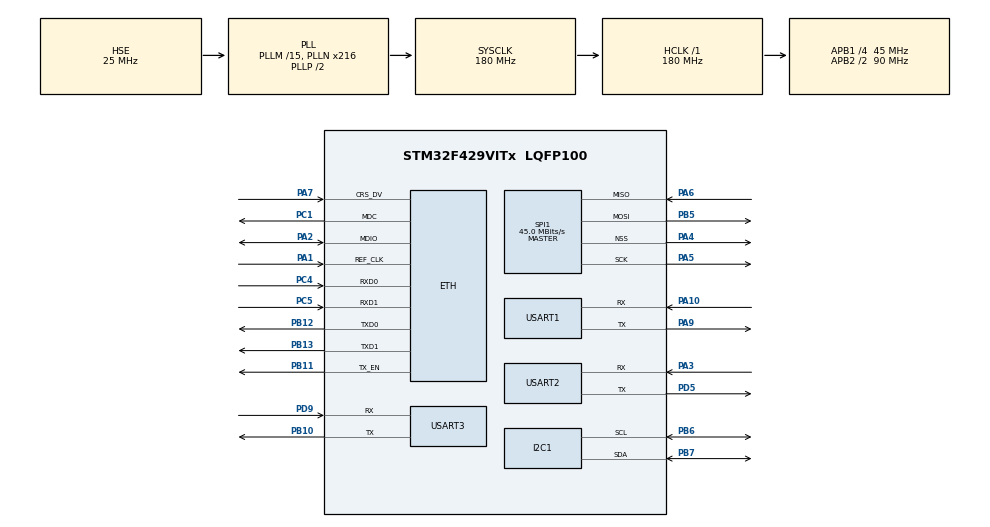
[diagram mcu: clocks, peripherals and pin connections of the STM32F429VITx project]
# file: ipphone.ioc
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Dma.Request0=USART1_RX
Dma.Request1=USART1_TX
Dma.Request2=USART2_RX
Dma.Request3=USART2_TX
Dma.USART1_RX.0.Direction=DMA_PERIPH_TO_MEMORY
Dma.USART1_RX.0.FIFOMode=DMA_FIFOMODE_DISABLE
Dma.USART1_RX.0.Instance=DMA2_Stream2
Dma.USART1_RX.0.MemDataAlignment=DMA_MDATAALIGN_BYTE
Dma.USART1_RX.0.MemInc=DMA_MINC_ENABLE
Dma.USART1_RX.0.Mode=DMA_NORMAL
Dma.USART1_RX.0.PeriphDataAlignment=DMA_PDATAALIGN_BYTE
Dma.USART1_RX.0.PeriphInc=DMA_PINC_DISABLE
Dma.USART1_RX.0.Priority=DMA_PRIORITY_LOW
Dma.USART1_TX.1.Direction=DMA_MEMORY_TO_PERIPH
Dma.USART1_TX.1.FIFOMode=DMA_FIFOMODE_DISABLE
Dma.USART1_TX.1.Instance=DMA2_Stream7
Dma.USART1_TX.1.MemDataAlignment=DMA_MDATAALIGN_BYTE
Dma.USART1_TX.1.MemInc=DMA_MINC_ENABLE
Dma.USART1_TX.1.Mode=DMA_NORMAL
Dma.USART1_TX.1.PeriphDataAlignment=DMA_PDATAALIGN_BYTE
Dma.USART1_TX.1.PeriphInc=DMA_PINC_DISABLE
Dma.USART1_TX.1.Priority=DMA_PRIORITY_LOW
Dma.USART2_RX.2.Direction=DMA_PERIPH_TO_MEMORY
Dma.USART2_RX.2.FIFOMode=DMA_FIFOMODE_DISABLE
Dma.USART2_RX.2.Instance=DMA1_Stream5
Dma.USART2_RX.2.MemDataAlignment=DMA_MDATAALIGN_BYTE
Dma.USART2_RX.2.MemInc=DMA_MINC_ENABLE
Dma.USART2_RX.2.Mode=DMA_NORMAL
Dma.USART2_RX.2.PeriphDataAlignment=DMA_PDATAALIGN_BYTE
Dma.USART2_RX.2.PeriphInc=DMA_PINC_DISABLE
Dma.USART2_RX.2.Priority=DMA_PRIORITY_LOW
Dma.USART2_TX.3.Direction=DMA_MEMORY_TO_PERIPH
Dma.USART2_TX.3.FIFOMode=DMA_FIFOMODE_DISABLE
Dma.USART2_TX.3.Instance=DMA1_Stream6
Dma.USART2_TX.3.MemDataAlignment=DMA_MDATAALIGN_BYTE
Dma.USART2_TX.3.MemInc=DMA_MINC_ENABLE
Dma.USART2_TX.3.Mode=DMA_NORMAL
Dma.USART2_TX.3.PeriphDataAlignment=DMA_PDATAALIGN_BYTE
Dma.USART2_TX.3.PeriphInc=DMA_PINC_DISABLE
Dma.USART2_TX.3.Priority=DMA_PRIORITY_LOW
ETH.MediaInterface=ETH_MEDIA_INTERFACE_RMII
LWIP.IP_ADDRESS=192.168.001.030
LWIP.LWIP_DHCP=0
LWIP.NETMASK_ADDRESS=255.255.255.000
LWIP.Version=v2.0.3_Cube
Mcu.Family=STM32F4
Mcu.Name=STM32F429VITx
Mcu.Package=LQFP100
NVIC.DMA1_Stream5_IRQn=true\:0\:0\:false\:true\:true\:2\:false
NVIC.DMA1_Stream6_IRQn=true\:0\:0\:false\:true\:true\:3\:false
NVIC.DMA2_Stream2_IRQn=true\:0\:0\:false\:true\:true\:5\:false
NVIC.DMA2_Stream7_IRQn=true\:0\:0\:false\:true\:true\:6\:false
NVIC.ETH_IRQn=true\:0\:0\:false\:true\:true\:1\:true
NVIC.PriorityGroup=NVIC_PRIORITYGROUP_4
NVIC.TIM3_IRQn=true\:0\:0\:false\:true\:true\:4\:true
NVIC.USART1_IRQn=true\:0\:0\:false\:true\:true\:7\:true
NVIC.USART2_IRQn=true\:0\:0\:false\:true\:true\:8\:true
PA1.Mode=RMII
PA1.Signal=ETH_REF_CLK
PA10.Mode=Asynchronous
PA10.Signal=USART1_RX
PA2.Mode=RMII
PA2.Signal=ETH_MDIO
PA3.Mode=Asynchronous
PA3.Signal=USART2_RX
PA4.Mode=NSS_Signal_Hard_Output
PA4.Signal=SPI1_NSS
PA5.Mode=Full_Duplex_Master
PA5.Signal=SPI1_SCK
PA6.Mode=Full_Duplex_Master
PA6.Signal=SPI1_MISO
PA7.Mode=RMII
PA7.Signal=ETH_CRS_DV
PA9.Mode=Asynchronous
PA9.Signal=USART1_TX
PB10.Mode=Asynchronous
PB10.Signal=USART3_TX
PB11.Mode=RMII
PB11.Signal=ETH_TX_EN
PB12.Mode=RMII
PB12.Signal=ETH_TXD0
PB13.Mode=RMII
PB13.Signal=ETH_TXD1
PB5.Mode=Full_Duplex_Master
PB5.Signal=SPI1_MOSI
PB6.Mode=I2C
PB6.Signal=I2C1_SCL
PB7.Mode=I2C
PB7.Signal=I2C1_SDA
PC1.Mode=RMII
PC1.Signal=ETH_MDC
PC4.Mode=RMII
PC4.Signal=ETH_RXD0
PC5.Mode=RMII
PC5.Signal=ETH_RXD1
PD5.Mode=Asynchronous
PD5.Signal=USART2_TX
PD9.Mode=Asynchronous
PD9.Signal=USART3_RX
PH0/OSC_IN.Mode=HSE-External-Oscillator
PH0/OSC_IN.Signal=RCC_OSC_IN
PH1/OSC_OUT.Mode=HSE-External-Oscillator
PH1/OSC_OUT.Signal=RCC_OSC_OUT
ProjectManager.HeapSize=0x200
ProjectManager.StackSize=0x400
ProjectManager.TargetToolchain=MDK-ARM V5
RCC.48MHZClocksFreq_Value=90000000
RCC.AHBFreq_Value=180000000
RCC.APB1CLKDivider=RCC_HCLK_DIV4
RCC.APB1Freq_Value=45000000
RCC.APB1TimFreq_Value=90000000
RCC.APB2CLKDivider=RCC_HCLK_DIV2
RCC.APB2Freq_Value=90000000
RCC.APB2TimFreq_Value=180000000
RCC.CortexFreq_Value=180000000
RCC.HCLKFreq_Value=180000000
RCC.HSE_VALUE=25000000
RCC.HSI_VALUE=16000000
RCC.LSE_VALUE=32768
RCC.PLLM=15
RCC.PLLN=216
RCC.PLLSourceVirtual=RCC_PLLSOURCE_HSE
RCC.SYSCLKFreq_VALUE=180000000
RCC.SYSCLKSource=RCC_SYSCLKSOURCE_PLLCLK
RCC.VCOOutputFreq_Value=360000000
SPI1.BaudRatePrescaler=SPI_BAUDRATEPRESCALER_2
SPI1.CalculateBaudRate=45.0 MBits/s
SPI1.Direction=SPI_DIRECTION_2LINES
SPI1.Mode=SPI_MODE_MASTER
SPI1.VirtualNSS=VM_NSSHARD
SPI1.VirtualType=VM_MASTER
TIM3.Period=9
TIM3.Prescaler=8399
TIM6.Period=9
TIM6.Prescaler=8399
USART1.VirtualMode=VM_ASYNC
USART2.VirtualMode=VM_ASYNC
USART3.VirtualMode=VM_ASYNC
VP_LWIP_VS_Enabled.Mode=Enabled
VP_RTC_VS_RTC_Activate.Mode=RTC_Enabled
VP_RTC_VS_RTC_Calendar.Mode=RTC_Calendar
VP_TIM3_VS_ClockSourceITR.Mode=TriggerSource_ITR3
VP_TIM3_VS_ControllerModeClock.Mode=Clock Mode
VP_TIM6_VS_ClockSourceINT.Mode=Enable_Timer
board=ipphone

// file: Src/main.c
#include "main.h"
#include "stm32f4xx_hal.h"
#include "lwip.h"

/* USER CODE BEGIN Includes */
#include "string.h"
#include <AppDelay.h>
#include <AppUSART.h>
#include "MyUDP.h"
#include "driver_gpio.h"
#include "dil_phone.h"
#include "phone_process.h"

/* USER CODE END Includes */

I2C_HandleTypeDef hi2c1;

RTC_HandleTypeDef hrtc;

SPI_HandleTypeDef hspi1;

TIM_HandleTypeDef htim3;
TIM_HandleTypeDef htim6;

UART_HandleTypeDef huart1;
UART_HandleTypeDef huart2;
UART_HandleTypeDef huart3;
DMA_HandleTypeDef hdma_usart1_rx;
DMA_HandleTypeDef hdma_usart1_tx;
DMA_HandleTypeDef hdma_usart2_rx;
DMA_HandleTypeDef hdma_usart2_tx;

/* USER CODE BEGIN PV */
/* Private variables ---------------------------------------------------------*/

/* USER CODE END PV */

void SystemClock_Config(void);
static void MX_GPIO_Init(void);
static void MX_DMA_Init(void);
static void MX_I2C1_Init(void);
static void MX_RTC_Init(void);
static void MX_SPI1_Init(void);
static void MX_USART1_UART_Init(void);
static void MX_USART2_UART_Init(void);
static void MX_USART3_UART_Init(void);
static void MX_TIM3_Init(void);
static void MX_TIM6_Init(void);
static void MX_NVIC_Init(void);

/* USER CODE BEGIN PFP */
/* Private function prototypes -----------------------------------------------*/

/* USER CODE END PFP */

int main(void)
{
  /* USER CODE BEGIN 1 */

//	int key_value=17;//
  /* USER CODE END 1 */

  /* MCU Configuration----------------------------------------------------------*/

  /* Reset of all peripherals, Initializes the Flash interface and the Systick. */
  HAL_Init();

  /* Configure the system clock */
  SystemClock_Config();

  /* Initialize all configured peripherals */
  MX_GPIO_Init();
  MX_DMA_Init();
  MX_I2C1_Init();
  MX_RTC_Init();
  MX_SPI1_Init();
  MX_USART1_UART_Init();
  MX_USART2_UART_Init();
  MX_USART3_UART_Init();
  MX_LWIP_Init();
  MX_TIM3_Init();
  MX_TIM6_Init();

  /* Initialize interrupts */
  MX_NVIC_Init();
  /* USER CODE BEGIN 2 */
	//MX_NVIC_Init();
	HAL_UART_Receive_DMA(&huart1, (uint8_t *) USART1_RX_BUF, 10);
	HAL_UART_Receive_DMA(&huart2, (uint8_t *) USART2_RX_BUF, USART2_REC_LEN/2);//
	HAL_UART_Receive_DMA(&huart3, (uint8_t *) aRxBuffer3, 1);

//	HAL_TIM_Base_Start_IT(&htim3);
//	HAL_TIM_Base_Start_IT(&htim6);

  /* USER CODE END 2 */
  /* Infinite loop */
  /* USER CODE BEGIN WHILE */
	//udp_demo_test();//创建
	udp_set_default_remoteip();//设置默认ip
	udp_Create_and_Bind_DEV();//创建udppcb，并绑定端口号

  while (1)
  {
  /* USER CODE END WHILE */
	/* USER CODE BEGIN 3 */
		//主流程
		if(HAND_ONnOFF_Value)//如果检测到摘机信号=1，需要拨打电话
		{
			ETH_PHONE_LOCAL_RINGOFF_FLAG=1;
			if(ETH_PHONE_LISTEN)//如果是接听标志有效=1
			{
				ETH_phone_listen_function();
			}
			else if(ETH_PHONE_REMOTE_RINGOFF_FLAG)//对方挂机
			{
				//提示本机挂电话，播放提示音
				phone_remote_ring_off();
				//ETH_PHONE_LOCAL_RINGOFF_FLAG=0;
			}
			else//非接听状态，则为拨打状态
			{
				////扫描按键////
				if(PHONE_NUM_DIL_VALID_FLAG)//扫描到有效号码，且为普通电话
				{
					//告知FPGA当先为普通电话
					phone_call_function();
				}
				else if(ETH_PHONE_NUM_DIL_VALID_FLAG)//扫描到有效号码，拨打网络电话
				{
					ETH_phone_call_function();
				}
				else//未检测到有效号码，则重新扫描按键
				{
					dil_phone_num();
				}
			}
		}
		else if(ETH_PHONE_LOCAL_RINGOFF_FLAG==1)//本机先挂断处理流程，提示本机挂电话，播放提示音
		{
			phone_local_ring_off();
		}
		else//空闲状态
		{
			ETH_PHONE_LOCAL_RINGOFF_FLAG=0;
			JDQ2_DISABLE;
			//空闲状态，等待接听
			//电话相关
			if(phone_num_valid_flag)//检测到号码为本机号码，出提示音，普通电话拨打
			{
				while(phone_CALL_Create())//电话无人接听，尝试响铃10次
				{
					//通过免提喇叭播放铃声（铃*铃*铃），通知接听电话
					delay_ms(10000);//延时10s
					//尝试5次
					RETRY++;
					if(RETRY>RETRY_TIMES){RETRY=0;break;} //连接失败
				}

				RETRY=0;
			}
			else if(ETH_phone_num_valid_flag)//号码为网络电话号码，出
			{
				while(ETH_phone_CALL_Create())
				{
					//通过免提喇叭播放铃声（铃*铃*铃），通知接听电话
					delay_ms(10000);//延时10s
					//尝试5次
					RETRY++;
					if(RETRY>RETRY_TIMES){RETRY=0;break;} //连接失败
				}
				RETRY=0;
			}
			else
			{
				phone_num();//扫描普通电话拨打号码
				ETH_phone_Idle_Scan();//扫描是否有网络拨打
			}
		}
		MX_LWIP_Process();

		//串口接收，用于指令接收
		if (USART1_RX_STA & 0x8000)
		{
			HAL_UART_Transmit_DMA(&huart1, (uint8_t *) USART1_RX_BUF,10);// (uint16_t) strlen((char *) USART1_RX_BUF));
			USART1_RX_STA = 0;
		}
  }
  /* USER CODE END 3 */
}

void SystemClock_Config(void)
{

  RCC_OscInitTypeDef RCC_OscInitStruct;
  RCC_ClkInitTypeDef RCC_ClkInitStruct;
  RCC_PeriphCLKInitTypeDef PeriphClkInitStruct;

    /**Configure the main internal regulator output voltage
    */
  __HAL_RCC_PWR_CLK_ENABLE();

  __HAL_PWR_VOLTAGESCALING_CONFIG(PWR_REGULATOR_VOLTAGE_SCALE1);

    /**Initializes the CPU, AHB and APB busses clocks
    */
  RCC_OscInitStruct.OscillatorType = RCC_OSCILLATORTYPE_LSI|RCC_OSCILLATORTYPE_HSE;
  RCC_OscInitStruct.HSEState = RCC_HSE_ON;
  RCC_OscInitStruct.LSIState = RCC_LSI_ON;
  RCC_OscInitStruct.PLL.PLLState = RCC_PLL_ON;
  RCC_OscInitStruct.PLL.PLLSource = RCC_PLLSOURCE_HSE;
  RCC_OscInitStruct.PLL.PLLM = 15;
  RCC_OscInitStruct.PLL.PLLN = 216;
  RCC_OscInitStruct.PLL.PLLP = RCC_PLLP_DIV2;
  RCC_OscInitStruct.PLL.PLLQ = 4;
  if (HAL_RCC_OscConfig(&RCC_OscInitStruct) != HAL_OK)
  {
    _Error_Handler(__FILE__, __LINE__);
  }

    /**Activate the Over-Drive mode
    */
  if (HAL_PWREx_EnableOverDrive() != HAL_OK)
  {
    _Error_Handler(__FILE__, __LINE__);
  }

    /**Initializes the CPU, AHB and APB busses clocks
    */
  RCC_ClkInitStruct.ClockType = RCC_CLOCKTYPE_HCLK|RCC_CLOCKTYPE_SYSCLK
                              |RCC_CLOCKTYPE_PCLK1|RCC_CLOCKTYPE_PCLK2;
  RCC_ClkInitStruct.SYSCLKSource = RCC_SYSCLKSOURCE_PLLCLK;
  RCC_ClkInitStruct.AHBCLKDivider = RCC_SYSCLK_DIV1;
  RCC_ClkInitStruct.APB1CLKDivider = RCC_HCLK_DIV4;
  RCC_ClkInitStruct.APB2CLKDivider = RCC_HCLK_DIV2;

  if (HAL_RCC_ClockConfig(&RCC_ClkInitStruct, FLASH_LATENCY_5) != HAL_OK)
  {
    _Error_Handler(__FILE__, __LINE__);
  }

  PeriphClkInitStruct.PeriphClockSelection = RCC_PERIPHCLK_RTC;
  PeriphClkInitStruct.RTCClockSelection = RCC_RTCCLKSOURCE_LSI;
  if (HAL_RCCEx_PeriphCLKConfig(&PeriphClkInitStruct) != HAL_OK)
  {
    _Error_Handler(__FILE__, __LINE__);
  }

    /**Configure the Systick interrupt time
    */
  HAL_SYSTICK_Config(HAL_RCC_GetHCLKFreq()/1000);

    /**Configure the Systick
    */
  HAL_SYSTICK_CLKSourceConfig(SYSTICK_CLKSOURCE_HCLK);

  /* SysTick_IRQn interrupt configuration */
  HAL_NVIC_SetPriority(SysTick_IRQn, 0, 0);
}

/**
  * @brief NVIC Configuration.
  * @retval None
  */
static void MX_NVIC_Init(void)
{
  /* ETH_IRQn interrupt configuration */
  HAL_NVIC_SetPriority(ETH_IRQn, 0, 0);
  HAL_NVIC_EnableIRQ(ETH_IRQn);
  /* DMA1_Stream5_IRQn interrupt configuration */
  HAL_NVIC_SetPriority(DMA1_Stream5_IRQn, 0, 0);
  HAL_NVIC_EnableIRQ(DMA1_Stream5_IRQn);
  /* DMA1_Stream6_IRQn interrupt configuration */
  HAL_NVIC_SetPriority(DMA1_Stream6_IRQn, 0, 0);
  HAL_NVIC_EnableIRQ(DMA1_Stream6_IRQn);
  /* TIM3_IRQn interrupt configuration */
  HAL_NVIC_SetPriority(TIM3_IRQn, 0, 0);
  HAL_NVIC_EnableIRQ(TIM3_IRQn);
  /* DMA2_Stream2_IRQn interrupt configuration */
  HAL_NVIC_SetPriority(DMA2_Stream2_IRQn, 0, 0);
  HAL_NVIC_EnableIRQ(DMA2_Stream2_IRQn);
  /* DMA2_Stream7_IRQn interrupt configuration */
  HAL_NVIC_SetPriority(DMA2_Stream7_IRQn, 0, 0);
  HAL_NVIC_EnableIRQ(DMA2_Stream7_IRQn);
  /* USART1_IRQn interrupt configuration */
  HAL_NVIC_SetPriority(USART1_IRQn, 0, 0);
  HAL_NVIC_EnableIRQ(USART1_IRQn);
  /* USART2_IRQn interrupt configuration */
  HAL_NVIC_SetPriority(USART2_IRQn, 0, 0);
  HAL_NVIC_EnableIRQ(USART2_IRQn);
}

/* I2C1 init function */
static void MX_I2C1_Init(void)
{

  hi2c1.Instance = I2C1;
  hi2c1.Init.ClockSpeed = 100000;
  hi2c1.Init.DutyCycle = I2C_DUTYCYCLE_2;
  hi2c1.Init.OwnAddress1 = 0;
  hi2c1.Init.AddressingMode = I2C_ADDRESSINGMODE_7BIT;
  hi2c1.Init.DualAddressMode = I2C_DUALADDRESS_DISABLE;
  hi2c1.Init.OwnAddress2 = 0;
  hi2c1.Init.GeneralCallMode = I2C_GENERALCALL_DISABLE;
  hi2c1.Init.NoStretchMode = I2C_NOSTRETCH_DISABLE;
  if (HAL_I2C_Init(&hi2c1) != HAL_OK)
  {
    _Error_Handler(__FILE__, __LINE__);
  }

}

/* RTC init function */
static void MX_RTC_Init(void)
{

  RTC_TimeTypeDef sTime;
  RTC_DateTypeDef sDate;

    /**Initialize RTC Only
    */
  hrtc.Instance = RTC;
if(HAL_RTCEx_BKUPRead(&hrtc, RTC_BKP_DR0) != 0x32F2){
  hrtc.Init.HourFormat = RTC_HOURFORMAT_24;
  hrtc.Init.AsynchPrediv = 127;
  hrtc.Init.SynchPrediv = 255;
  hrtc.Init.OutPut = RTC_OUTPUT_DISABLE;
  hrtc.Init.OutPutPolarity = RTC_OUTPUT_POLARITY_HIGH;
  hrtc.Init.OutPutType = RTC_OUTPUT_TYPE_OPENDRAIN;
  if (HAL_RTC_Init(&hrtc) != HAL_OK)
  {
    _Error_Handler(__FILE__, __LINE__);
  }

    /**Initialize RTC and set the Time and Date
    */
  sTime.Hours = 0x0;
  sTime.Minutes = 0x0;
  sTime.Seconds = 0x0;
  sTime.DayLightSaving = RTC_DAYLIGHTSAVING_NONE;
  sTime.StoreOperation = RTC_STOREOPERATION_RESET;
  if (HAL_RTC_SetTime(&hrtc, &sTime, RTC_FORMAT_BCD) != HAL_OK)
  {
    _Error_Handler(__FILE__, __LINE__);
  }

  sDate.WeekDay = RTC_WEEKDAY_MONDAY;
  sDate.Month = RTC_MONTH_JANUARY;
  sDate.Date = 0x1;
  sDate.Year = 0x0;

  if (HAL_RTC_SetDate(&hrtc, &sDate, RTC_FORMAT_BCD) != HAL_OK)
  {
    _Error_Handler(__FILE__, __LINE__);
  }

    HAL_RTCEx_BKUPWrite(&hrtc,RTC_BKP_DR0,0x32F2);
  }

}

/* SPI1 init function */
static void MX_SPI1_Init(void)
{

  /* SPI1 parameter configuration*/
  hspi1.Instance = SPI1;
  hspi1.Init.Mode = SPI_MODE_MASTER;
  hspi1.Init.Direction = SPI_DIRECTION_2LINES;
  hspi1.Init.DataSize = SPI_DATASIZE_8BIT;
  hspi1.Init.CLKPolarity = SPI_POLARITY_LOW;
  hspi1.Init.CLKPhase = SPI_PHASE_1EDGE;
  hspi1.Init.NSS = SPI_NSS_HARD_OUTPUT;
  hspi1.Init.BaudRatePrescaler = SPI_BAUDRATEPRESCALER_2;
  hspi1.Init.FirstBit = SPI_FIRSTBIT_MSB;
  hspi1.Init.TIMode = SPI_TIMODE_DISABLE;
  hspi1.Init.CRCCalculation = SPI_CRCCALCULATION_DISABLE;
  hspi1.Init.CRCPolynomial = 10;
  if (HAL_SPI_Init(&hspi1) != HAL_OK)
  {
    _Error_Handler(__FILE__, __LINE__);
  }

}

/* TIM3 init function */
static void MX_TIM3_Init(void)
{

  TIM_SlaveConfigTypeDef sSlaveConfig;
  TIM_MasterConfigTypeDef sMasterConfig;

  htim3.Instance = TIM3;
  htim3.Init.Prescaler = 8399;
  htim3.Init.CounterMode = TIM_COUNTERMODE_UP;
  htim3.Init.Period = 9;
  htim3.Init.ClockDivision = TIM_CLOCKDIVISION_DIV1;
  if (HAL_TIM_Base_Init(&htim3) != HAL_OK)
  {
    _Error_Handler(__FILE__, __LINE__);
  }

  sSlaveConfig.SlaveMode = TIM_SLAVEMODE_EXTERNAL1;
  sSlaveConfig.InputTrigger = TIM_TS_ITR3;
  if (HAL_TIM_SlaveConfigSynchronization(&htim3, &sSlaveConfig) != HAL_OK)
  {
    _Error_Handler(__FILE__, __LINE__);
  }

  sMasterConfig.MasterOutputTrigger = TIM_TRGO_RESET;
  sMasterConfig.MasterSlaveMode = TIM_MASTERSLAVEMODE_DISABLE;
  if (HAL_TIMEx_MasterConfigSynchronization(&htim3, &sMasterConfig) != HAL_OK)
  {
    _Error_Handler(__FILE__, __LINE__);
  }

}

/* TIM6 init function */
static void MX_TIM6_Init(void)
{

  TIM_MasterConfigTypeDef sMasterConfig;

  htim6.Instance = TIM6;
  htim6.Init.Prescaler = 8399;
  htim6.Init.CounterMode = TIM_COUNTERMODE_UP;
  htim6.Init.Period = 9;
  if (HAL_TIM_Base_Init(&htim6) != HAL_OK)
  {
    _Error_Handler(__FILE__, __LINE__);
  }

  sMasterConfig.MasterOutputTrigger = TIM_TRGO_RESET;
  sMasterConfig.MasterSlaveMode = TIM_MASTERSLAVEMODE_DISABLE;
  if (HAL_TIMEx_MasterConfigSynchronization(&htim6, &sMasterConfig) != HAL_OK)
  {
    _Error_Handler(__FILE__, __LINE__);
  }

}

/* USART1 init function */
static void MX_USART1_UART_Init(void)
{

  huart1.Instance = USART1;
  huart1.Init.BaudRate = 115200;
  huart1.Init.WordLength = UART_WORDLENGTH_8B;
  huart1.Init.StopBits = UART_STOPBITS_1;
  huart1.Init.Parity = UART_PARITY_NONE;
  huart1.Init.Mode = UART_MODE_TX_RX;
  huart1.Init.HwFlowCtl = UART_HWCONTROL_NONE;
  huart1.Init.OverSampling = UART_OVERSAMPLING_16;
  if (HAL_UART_Init(&huart1) != HAL_OK)
  {
    _Error_Handler(__FILE__, __LINE__);
  }

}

/* USART2 init function */
static void MX_USART2_UART_Init(void)
{

  huart2.Instance = USART2;
  huart2.Init.BaudRate = 115200;
  huart2.Init.WordLength = UART_WORDLENGTH_9B;//UART_WORDLENGTH_8B;
  huart2.Init.StopBits = UART_STOPBITS_1;
  huart2.Init.Parity = UART_PARITY_EVEN;//UART_PARITY_NONE;
  huart2.Init.Mode = UART_MODE_TX_RX;
  huart2.Init.HwFlowCtl = UART_HWCONTROL_NONE;
  huart2.Init.OverSampling = UART_OVERSAMPLING_16;
  if (HAL_UART_Init(&huart2) != HAL_OK)
  {
    _Error_Handler(__FILE__, __LINE__);
  }

}

/* USART3 init function */
static void MX_USART3_UART_Init(void)
{

  huart3.Instance = USART3;
  huart3.Init.BaudRate = 115200;
  huart3.Init.WordLength = UART_WORDLENGTH_8B;
  huart3.Init.StopBits = UART_STOPBITS_1;
  huart3.Init.Parity = UART_PARITY_NONE;
  huart3.Init.Mode = UART_MODE_TX_RX;
  huart3.Init.HwFlowCtl = UART_HWCONTROL_NONE;
  huart3.Init.OverSampling = UART_OVERSAMPLING_16;
  if (HAL_UART_Init(&huart3) != HAL_OK)
  {
    _Error_Handler(__FILE__, __LINE__);
  }

}

static void MX_DMA_Init(void)
{
  /* DMA controller clock enable */
  __HAL_RCC_DMA2_CLK_ENABLE();
  __HAL_RCC_DMA1_CLK_ENABLE();

}

/** Configure pins as
        * Analog
        * Input
        * Output
        * EVENT_OUT
        * EXTI
*/
static void MX_GPIO_Init(void)
{

  /* GPIO Ports Clock Enable */
  __HAL_RCC_GPIOH_CLK_ENABLE();
  __HAL_RCC_GPIOC_CLK_ENABLE();
  __HAL_RCC_GPIOA_CLK_ENABLE();
  __HAL_RCC_GPIOB_CLK_ENABLE();
  __HAL_RCC_GPIOD_CLK_ENABLE();
/* USER CODE BEGIN 4 */
	GPIO_InitTypeDef GPIO_Initure;
	//输出GPIO
	__HAL_RCC_GPIOB_CLK_ENABLE();           //开启GPIOB时钟

	GPIO_Initure.Pin=GPIO_PIN_0|GPIO_PIN_1; //PB1,0
	GPIO_Initure.Mode=GPIO_MODE_OUTPUT_PP;  //推挽输出
	GPIO_Initure.Pull=GPIO_PULLUP;          //上拉
	GPIO_Initure.Speed=GPIO_SPEED_HIGH;     //高速
	HAL_GPIO_Init(GPIOB,&GPIO_Initure);
	HAL_GPIO_WritePin(GPIOB,GPIO_PIN_0,GPIO_PIN_SET);	//PB0置1，作为IP178复位脚
	HAL_GPIO_WritePin(GPIOB,GPIO_PIN_0,GPIO_PIN_SET);	//PB1置1

	__HAL_RCC_GPIOC_CLK_ENABLE();           //开启GPIOC时钟

	GPIO_Initure.Pin=GPIO_PIN_6|GPIO_PIN_7|GPIO_PIN_8|GPIO_PIN_9; //PC6,7,8,9
	GPIO_Initure.Mode=GPIO_MODE_OUTPUT_PP;  //推挽输出
	GPIO_Initure.Pull=GPIO_PULLUP;          //上拉
	GPIO_Initure.Speed=GPIO_SPEED_HIGH;     //高速
	HAL_GPIO_Init(GPIOC,&GPIO_Initure);
	HAL_GPIO_WritePin(GPIOC,GPIO_PIN_6,GPIO_PIN_RESET);	//PC6置1,DTMF/D1
	HAL_GPIO_WritePin(GPIOC,GPIO_PIN_7,GPIO_PIN_RESET);	//PC7置1,DTMF/D2
	HAL_GPIO_WritePin(GPIOC,GPIO_PIN_8,GPIO_PIN_RESET);	//PC8置1,DTMF/D3
	HAL_GPIO_WritePin(GPIOC,GPIO_PIN_9,GPIO_PIN_SET);	//PC9置1,DD_OE

	__HAL_RCC_GPIOD_CLK_ENABLE();           //开启GPIOD时钟

	GPIO_Initure.Pin=GPIO_PIN_0|GPIO_PIN_13|GPIO_PIN_14|GPIO_PIN_15;	//|GPIO_PIN_1; //PD13 MCU_LED_DEBUG
	GPIO_Initure.Mode=GPIO_MODE_OUTPUT_PP;  //推挽输出
	GPIO_Initure.Pull=GPIO_PULLUP;          //上拉
	GPIO_Initure.Speed=GPIO_SPEED_HIGH;     //高速
	HAL_GPIO_Init(GPIOD,&GPIO_Initure);
	HAL_GPIO_WritePin(GPIOD,GPIO_PIN_0,GPIO_PIN_RESET);			//PD0置0
	HAL_GPIO_WritePin(GPIOD,GPIO_PIN_13,GPIO_PIN_SET);		//PD13置1
	HAL_GPIO_WritePin(GPIOD,GPIO_PIN_14,GPIO_PIN_SET);		//PD14置1,nCE1_Tone_Out，默认关
	HAL_GPIO_WritePin(GPIOD,GPIO_PIN_15,GPIO_PIN_RESET);	//PD15置0,DTMF/D0

	__HAL_RCC_GPIOE_CLK_ENABLE();           //开启GPIOE时钟

	GPIO_Initure.Pin=GPIO_PIN_0|GPIO_PIN_1|GPIO_PIN_2|GPIO_PIN_3|GPIO_PIN_4|GPIO_PIN_5|GPIO_PIN_6|
									 GPIO_PIN_7|GPIO_PIN_8|GPIO_PIN_9|GPIO_PIN_10|GPIO_PIN_11|GPIO_PIN_12|GPIO_PIN_13|GPIO_PIN_14; //PB1,0
	GPIO_Initure.Mode=GPIO_MODE_OUTPUT_PP;  //推挽输出
	GPIO_Initure.Pull=GPIO_PULLDOWN;        //上拉
	GPIO_Initure.Speed=GPIO_SPEED_HIGH;     //高速
	HAL_GPIO_Init(GPIOE,&GPIO_Initure);

	HAL_GPIO_WritePin(GPIOE,GPIO_PIN_7,GPIO_PIN_RESET);		//PE7置0
	HAL_GPIO_WritePin(GPIOE,GPIO_PIN_8,GPIO_PIN_RESET);		//PE8置0
	HAL_GPIO_WritePin(GPIOE,GPIO_PIN_9,GPIO_PIN_RESET);		//PE9置0
	HAL_GPIO_WritePin(GPIOE,GPIO_PIN_10,GPIO_PIN_RESET);	//PE10置0
	HAL_GPIO_WritePin(GPIOE,GPIO_PIN_11,GPIO_PIN_RESET);	//PE11置0
	HAL_GPIO_WritePin(GPIOE,GPIO_PIN_12,GPIO_PIN_RESET);	//PE12置0
	HAL_GPIO_WritePin(GPIOE,GPIO_PIN_13,GPIO_PIN_RESET);	//PE13置0
	HAL_GPIO_WritePin(GPIOE,GPIO_PIN_14,GPIO_PIN_RESET);	//PE14置0

	//输入GPIO
	__HAL_RCC_GPIOA_CLK_ENABLE();           //开启GPIOA时钟
	GPIO_Initure.Pin=GPIO_PIN_8|GPIO_PIN_11|GPIO_PIN_12;  //PA8-DDD0,PA11-DDD1,PA12-DDD2
	GPIO_Initure.Mode=GPIO_MODE_INPUT;      //输入
	GPIO_Initure.Pull=GPIO_PULLDOWN;        //下拉
	GPIO_Initure.Speed=GPIO_SPEED_HIGH;     //高速
	HAL_GPIO_Init(GPIOA,&GPIO_Initure);

//		__HAL_RCC_GPIOB_CLK_ENABLE();           //开启GPIOB时钟
//		GPIO_Initure.Pin=GPIO_PIN_8|GPIO_PIN_9; //PB8,PB9
//    GPIO_Initure.Mode=GPIO_MODE_INPUT;      //输入
//    GPIO_Initure.Pull=GPIO_PULLDOWN;        //下拉
//    GPIO_Initure.Speed=GPIO_SPEED_HIGH;     //高速
//    HAL_GPIO_Init(GPIOB,&GPIO_Initure);

	__HAL_RCC_GPIOC_CLK_ENABLE();           //开启GPIOC时钟
	GPIO_Initure.Pin=GPIO_PIN_10|GPIO_PIN_11; //PC10-DDD3
	GPIO_Initure.Mode=GPIO_MODE_INPUT;      //输入
	GPIO_Initure.Pull=GPIO_PULLDOWN;        //下拉
	GPIO_Initure.Speed=GPIO_SPEED_HIGH;     //高速
	HAL_GPIO_Init(GPIOC,&GPIO_Initure);

	__HAL_RCC_GPIOD_CLK_ENABLE();           //开启GPIOD时钟
	GPIO_Initure.Pin=GPIO_PIN_1|GPIO_PIN_8; //PH1-HANG_ON/OFF，GPIO-9-j检测到振铃
	HAL_GPIO_Init(GPIOD,&GPIO_Initure);

	///////////矩阵键盘输入K0-K3//////////////
	__HAL_RCC_GPIOB_CLK_ENABLE();           //开启GPIOB时钟
	GPIO_Initure.Pin=GPIO_PIN_8|GPIO_PIN_9; //PB8-K1,PB9-K0
	GPIO_Initure.Mode=GPIO_MODE_INPUT;      //输入
	GPIO_Initure.Pull=GPIO_PULLDOWN;        //下拉
	GPIO_Initure.Speed=GPIO_SPEED_HIGH;     //高速
	HAL_GPIO_Init(GPIOB,&GPIO_Initure);

	__HAL_RCC_GPIOC_CLK_ENABLE();           //开启GPIOC时钟
	GPIO_Initure.Pin=GPIO_PIN_2|GPIO_PIN_3; //PC2-K2,PC3-K3
	GPIO_Initure.Mode=GPIO_MODE_INPUT;      //输入
	GPIO_Initure.Pull=GPIO_PULLDOWN;        //下拉
	GPIO_Initure.Speed=GPIO_SPEED_HIGH;     //高速
	HAL_GPIO_Init(GPIOC,&GPIO_Initure);

	///////////矩阵键盘输出K4-K8//////////////
	__HAL_RCC_GPIOD_CLK_ENABLE();           //开启GPIOD时钟
	GPIO_Initure.Pin=GPIO_PIN_2|GPIO_PIN_3|GPIO_PIN_4|GPIO_PIN_6|GPIO_PIN_7; //PD2-K8,PD3-K7,PD4-K6,PD6-K5,PD7-K4
	GPIO_Initure.Mode=GPIO_MODE_OUTPUT_PP;  //推挽输出
	GPIO_Initure.Pull=GPIO_PULLDOWN;        //下拉
	GPIO_Initure.Speed=GPIO_SPEED_HIGH;     //高速
	HAL_GPIO_Init(GPIOD,&GPIO_Initure);
	HAL_GPIO_WritePin(GPIOD,GPIO_PIN_7,GPIO_PIN_RESET);	//K4置0
	HAL_GPIO_WritePin(GPIOD,GPIO_PIN_6,GPIO_PIN_RESET);	//K5置0
	HAL_GPIO_WritePin(GPIOD,GPIO_PIN_4,GPIO_PIN_RESET);	//K6置0
	HAL_GPIO_WritePin(GPIOD,GPIO_PIN_3,GPIO_PIN_RESET);	//k7置0
	HAL_GPIO_WritePin(GPIOD,GPIO_PIN_2,GPIO_PIN_RESET);	//k8置0

	///////////摘机信号//////////////
	__HAL_RCC_GPIOD_CLK_ENABLE();           //开启GPIOD时钟
	GPIO_Initure.Pin=GPIO_PIN_1; //PD1 摘机信号
	GPIO_Initure.Mode=GPIO_MODE_INPUT;      //输入
	GPIO_Initure.Pull=GPIO_PULLDOWN;        //下拉
	GPIO_Initure.Speed=GPIO_SPEED_HIGH;     //高速
	HAL_GPIO_Init(GPIOD,&GPIO_Initure);

	///////////输出到FPGA//////////////
	__HAL_RCC_GPIOD_CLK_ENABLE();           //开启GPIOD时钟
	GPIO_Initure.Pin=GPIO_PIN_10|GPIO_PIN_11|GPIO_PIN_12; //PD10-PCM3,PD11-PCM2,PD13-PCM1
	GPIO_Initure.Mode=GPIO_MODE_OUTPUT_PP;  //推挽输出
	GPIO_Initure.Pull=GPIO_PULLDOWN;        //下拉
	GPIO_Initure.Speed=GPIO_SPEED_HIGH;     //高速
	HAL_GPIO_Init(GPIOD,&GPIO_Initure);
	HAL_GPIO_WritePin(GPIOD,GPIO_PIN_10,GPIO_PIN_RESET);	//PCM3置0
	HAL_GPIO_WritePin(GPIOD,GPIO_PIN_11,GPIO_PIN_RESET);	//PCM2置0
	HAL_GPIO_WritePin(GPIOD,GPIO_PIN_12,GPIO_PIN_RESET);	//PCM1置0

	__HAL_RCC_GPIOB_CLK_ENABLE();           //开启GPIOB时钟
	GPIO_Initure.Pin=GPIO_PIN_14|GPIO_PIN_15; //PB14-MCU_BAKIO11,PB14-MCU_BAKIO12
	GPIO_Initure.Mode=GPIO_MODE_OUTPUT_PP;  //推挽输出
	GPIO_Initure.Pull=GPIO_PULLDOWN;        //下拉
	GPIO_Initure.Speed=GPIO_SPEED_HIGH;     //高速
	HAL_GPIO_Init(GPIOB,&GPIO_Initure);
	HAL_GPIO_WritePin(GPIOB,GPIO_PIN_14,GPIO_PIN_RESET);	//MCU_BAKIO11置0
	HAL_GPIO_WritePin(GPIOB,GPIO_PIN_15,GPIO_PIN_RESET);	//MCU_BAKIO12置0

/* USER CODE END 4 */
}

void _Error_Handler(char *file, int line)
{
  while(1)
  {
  }
}

/************************ (C) COPYRIGHT STMicroelectronics *****END OF FILE****/
